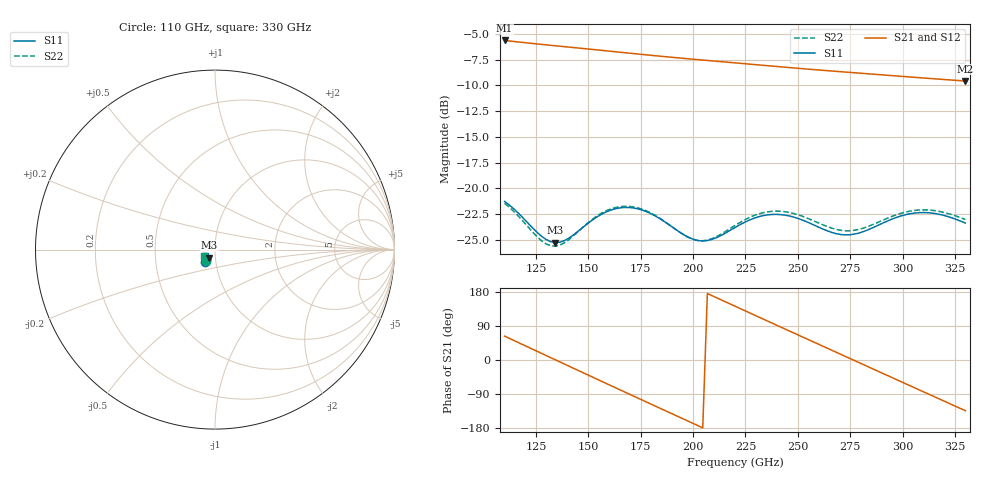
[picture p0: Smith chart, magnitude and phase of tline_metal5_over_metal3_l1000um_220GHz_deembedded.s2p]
! Created with skrf 2.2.0 (http://scikit-rf.org).
# GHz S DB R 50.0
! Port[1] = P1
! Port[2] = P2
!freq dBS11 angS11 dBS21 angS21 dBS12 angS12 dBS22 angS22
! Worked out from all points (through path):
!   101 points, 110 GHz to 330 GHz, reference 50 ohm
!   highest |S21| = -5.64 dB at 110 GHz (marker M1); lowest = -9.6 dB at 330 GHz (marker M2)
!   group delay of S21, straight-line fit = 7.02 ps
!   lowest |S11| = -25.3 dB at 134.2 GHz (marker M3), VSWR 1.12, Z = 46.7 - j4.14 ohm
!   |S11| at or under -10 dB: start of sweep to end of sweep
!   |S22| runs from -25.6 to -21.5 dB; largest |S21 - S12| = 5.8e-14
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110  -21.28 -129.4  -5.64 63.0  -5.64 63.0  -21.46 -128.6
123.2  -23.82 -135.8  -5.93 28.9  -5.93 28.9  -24.21 -134.1
134.2  -25.28 -125.8  -6.15 0.6  -6.15 0.6  -25.63 -121.7
147.4  -23.80 -115.8  -6.42 -33.4  -6.42 -33.4  -23.78 -111.6
156.2  -22.53 -119.3  -6.60 -55.9  -6.60 -55.9  -22.43 -115.8
165  -21.91 -126.9  -6.78 -78.5  -6.78 -78.5  -21.79 -124.0
173.8  -22.01 -135.2  -6.96 -100.9  -6.96 -100.9  -21.91 -132.8
184.8  -23.04 -142.8  -7.18 -128.8  -7.18 -128.8  -23.01 -140.5
193.6  -24.26 -143.2  -7.34 -151.1  -7.34 -151.1  -24.27 -140.6
202.4  -25.08 -137.4  -7.50 -173.4  -7.50 -173.4  -25.08 -134.2
211.2  -24.80 -130.1  -7.66 164.3  -7.66 164.3  -24.70 -126.6
220  -23.81 -127.5  -7.82 142.0  -7.82 142.0  -23.61 -124.2
228.8  -22.93 -130.2  -7.97 119.8  -7.97 119.8  -22.67 -127.2
237.6  -22.55 -135.6  -8.13 97.6  -8.13 97.6  -22.24 -132.8
246.4  -22.72 -141.0  -8.28 75.5  -8.28 75.5  -22.37 -138.6
257.4  -23.54 -144.6  -8.47 47.9  -8.47 47.9  -23.15 -142.6
266.2  -24.29 -142.8  -8.61 25.8  -8.61 25.8  -23.88 -141.4
275  -24.51 -137.6  -8.75 3.7  -8.75 3.7  -24.13 -136.8
283.8  -24.01 -133.3  -8.88 -18.4  -8.88 -18.4  -23.69 -132.8
294.8  -23.01 -133.3  -9.05 -45.9  -9.05 -45.9  -22.75 -132.8
312.4  -22.38 -141.7  -9.32 -90.0  -9.32 -90.0  -22.11 -141.0
330  -23.38 -147.4  -9.58 -133.9  -9.58 -133.9  -23.04 -147.0
